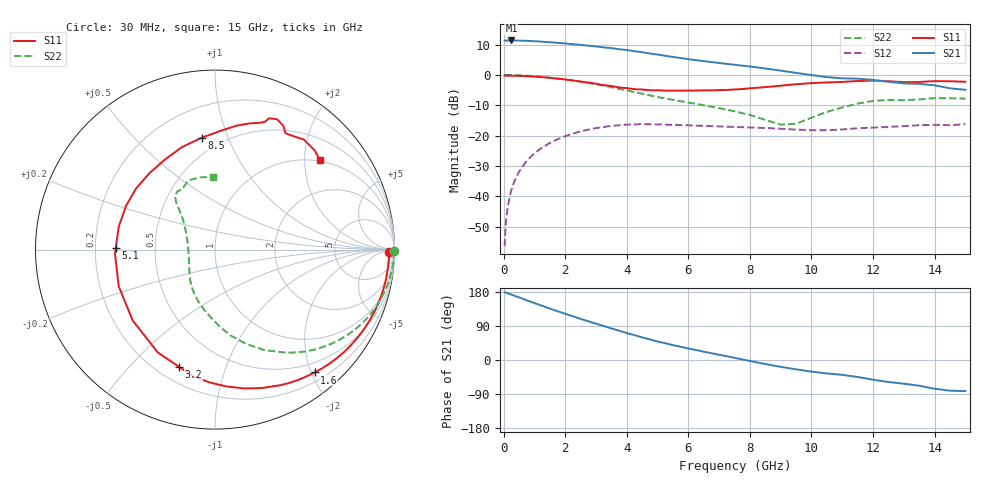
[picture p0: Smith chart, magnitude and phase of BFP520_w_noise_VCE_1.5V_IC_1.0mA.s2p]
! Infineon Technologies  Discrete & RF Semiconductors
! BFP520
! VCE =  1.5 V,  IC =  1.0 mA
! Common Emitter S-Parameters:  Oct 2015
# GHz  S  MA  R  50
!  f  S11  S21  S12  S22
! GHz  MAG  ANG  MAG  ANG  MAG  ANG  MAG  ANG
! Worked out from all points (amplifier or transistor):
!   109 points, 30 MHz to 15 GHz, reference 50 ohm
!   highest |S21| = 11.3 dB at 250 MHz (marker M1)
!   |S21| within 3 dB of that: start of sweep to 3.848 GHz
!   unconditionally stable (mu >= 1): 5.533 GHz to end of sweep
!   at 450 MHz: K = 0.02, MSG = 22.1 dB, |S12| = -32.9 dB
!   at 4 GHz: K = 0.62, MSG = 12.3 dB, |S12| = -16.4 dB
!   at 15 GHz: K = 2.03, MAG = -0.1 dB, |S12| = -16.3 dB
!   lowest NFmin = 0.87 dB at 900 MHz
!   S11 on the Smith chart (normalised r, x): 30 MHz: 52, -26; 1.6 GHz: 0.34, -2.05; 3.2 GHz: 0.29, -0.70; 5.1 GHz: 0.29, +0.01; 8.5 GHz: 0.39, +0.81; 15 GHz: 0.96, +2.36
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0.03  0.9697 -0.9  3.674 179.0  0.0015 91.2  0.9956 -0.6
0.06  0.9706 -1.7  3.656 177.9  0.0031 90.1  0.9962 -1.2
0.11  0.9708 -3.4  3.669 176.8  0.0055 88.9  0.996 -2.3
0.25  0.9671 -7.7  3.689 172.6  0.0126 86.0  0.9933 -5.1
0.5  0.9608 -15.5  3.667 165.2  0.0252 81.5  0.9842 -10.2
0.9  0.9413 -28.1  3.606 153.2  0.0456 74.0  0.9578 -18.2
1.2  0.9196 -37.8  3.535 144.3  0.0607 67.9  0.9302 -24.1
1.6  0.881 -51.0  3.421 132.8  0.0799 59.8  0.8858 -31.6
2  0.8384 -64.3  3.292 121.9  0.0975 51.7  0.8367 -38.6
2.6  0.7651 -85.2  3.082 106.0  0.1202 39.8  0.7562 -48.7
3.2  0.6829 -107.1  2.853 90.9  0.1368 28.1  0.6681 -58.4
4  0.6052 -139.2  2.566 71.1  0.1515 13.5  0.5528 -71.8
4.5  0.574 -159.2  2.361 59.5  0.154 5.3  0.4874 -79.6
5.1  0.5533 179.2  2.12 46.9  0.152 -2.9  0.4224 -87.4
6  0.5523 153.9  1.816 30.3  0.1473 -12.1  0.35 -98.5
7.6  0.5773 116.9  1.446 4.1  0.1377 -23.7  0.2438 -122.1
8.5  0.6279 96.7  1.273 -10.7  0.1329 -28.9  0.1811 -142.4
9.5  0.7007 80.2  1.078 -24.6  0.1252 -33.0  0.1562 166.3
10.5  0.7497 70.4  0.916 -35.5  0.122 -32.9  0.2447 136.8
12  0.8045 64.5  0.824 -52.0  0.1348 -36.5  0.3723 126.8
13  0.758 58.8  0.723 -62.6  0.1428 -40.8  0.3821 118.6
15  0.7686 40.7  0.567 -82.0  0.1535 -51.5  0.4058 91.6
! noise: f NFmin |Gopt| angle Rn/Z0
0.45  0.88  0.79  5  0.61
0.9  0.87  0.75  15  0.62
1.9  1.31  0.61  32  0.51
2.4  1.44  0.57  45  0.48
3.5  1.45  0.55  70  0.41
